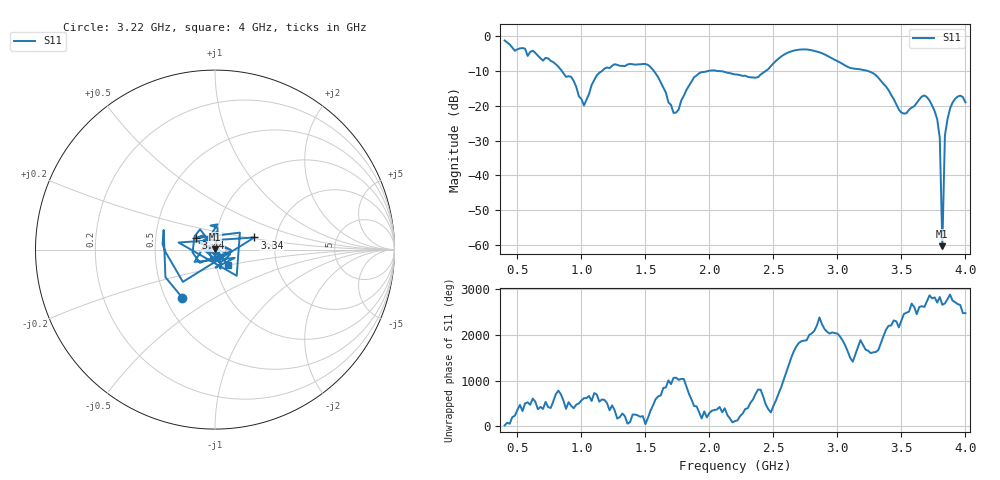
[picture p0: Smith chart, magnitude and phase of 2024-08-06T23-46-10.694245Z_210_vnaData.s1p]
!Created with skrf (http://scikit-rf.org).
# Hz S RI R 50.0
!freq ReS11 ImS11
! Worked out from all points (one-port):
!   181 points, 400 MHz to 4 GHz, reference 50 ohm
!   lowest |S11| = -60.3 dB at 3.82 GHz (marker M1), VSWR 1.00, Z = 49.9 + j0.0727 ohm
!   |S11| at or under -10 dB: 1.567 GHz to 1.989 GHz (422 MHz wide, 23.7 % of centre); 2.074 GHz to 2.439 GHz (364.7 MHz wide, 16.2 % of centre); 3.24 GHz to end of sweep (the widest 3 of 4)
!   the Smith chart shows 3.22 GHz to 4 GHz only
!   S11 on the Smith chart (normalised r, x): 3.22 GHz: 0.61, -0.36; 3.34 GHz: 1.54, +0.22; 3.44 GHz: 0.80, +0.10; 4 GHz: 1.13, -0.20
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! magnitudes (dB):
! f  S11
! 400 MHz  -1.2
! 860 MHz  -10.7
! 940 MHz  -12.8
! 1.02 GHz  -19.9
! 1.12 GHz  -11.2
! 1.3 GHz  -8.5
! 1.52 GHz  -8.2
! 1.6 GHz  -11.8
! 1.72 GHz  -22.0
! 1.76 GHz  -21.0
! 1.92 GHz  -10.6
! 2.2 GHz  -11.0
! 2.38 GHz  -11.8
! 2.66 GHz  -4.1
! 3.1 GHz  -9.1
! 3.22 GHz  -9.8
! 3.34 GHz  -12.8
! 3.44 GHz  -18.0
! 3.5 GHz  -22.0
! 3.56 GHz  -21.1
! 3.68 GHz  -17.0
! 3.78 GHz  -23.9
! 3.8 GHz  -29.3
! 3.82 GHz  -60.3
! 3.84 GHz  -28.5
! 3.86 GHz  -23.9
! 3.92 GHz  -18.0
! 4 GHz  -19.0
